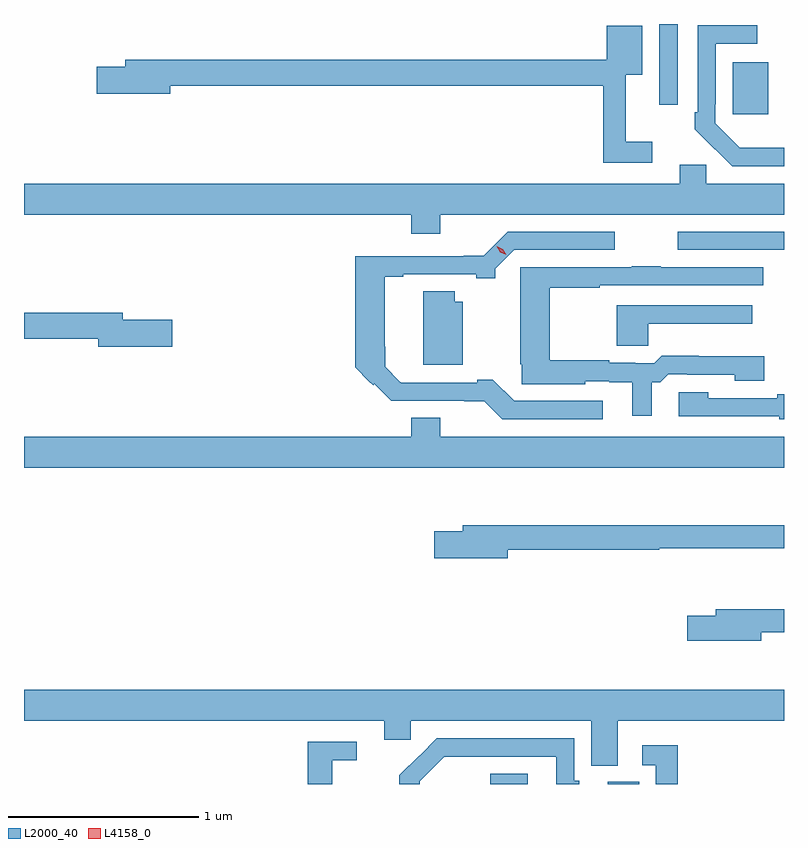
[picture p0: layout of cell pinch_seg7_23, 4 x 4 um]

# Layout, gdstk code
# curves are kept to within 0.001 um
import gdstk
lib = gdstk.Library(unit=1e-6, precision=1e-09)
def R(c, l, rs):  # rectangles x0, y0, x1, y1
    for r in rs: c.add(gdstk.rectangle(r[:2], r[2:], *l))
def P(c, l, *ps):  # polygons
    for p in ps: c.add(gdstk.Polygon(p, *l))
L2000_40 = (2000, 40)
L4158_0 = (4158, 0)

pinch_seg7_23 = lib.new_cell('pinch_seg7_23')
R(pinch_seg7_23, L2000_40, [(1043.196,1066.884,1043.395,1066.938), (1043.816,1066.884,1043.98,1066.896), (1044.183,1069.695,1044.743,1069.791), (1044.473,1070.409,1044.661,1070.683), (1044.087,1070.46,1044.183,1070.884)])
P(pinch_seg7_23, L2000_40, [(1044.743,1070.232),(1044.51,1070.233),(1044.381,1070.361),(1044.381,1070.461),(1044.384,1070.461),(1044.384,1070.781),(1044.603,1070.781),(1044.603,1070.877),(1044.288,1070.877),(1044.288,1070.419),(1044.273,1070.419),(1044.273,1070.331),(1044.47,1070.136),(1044.743,1070.136)],
  [(1044.049,1070.263),(1043.909,1070.263),(1043.909,1070.618),(1043.998,1070.618),(1043.998,1070.875),(1043.811,1070.875),(1043.811,1070.696),(1041.275,1070.696),(1041.275,1070.66),(1041.126,1070.66),(1041.126,1070.518),(1041.514,1070.518),(1041.514,1070.56),(1043.791,1070.56),(1043.791,1070.154),(1044.049,1070.154)],
  [(1042.933,1069.88),(1044.743,1069.88),(1044.743,1070.044),(1044.333,1070.044),(1044.333,1070.142),(1044.194,1070.142),(1044.194,1070.044),(1040.743,1070.044),(1040.743,1069.88),(1042.781,1069.88),(1042.781,1069.781),(1042.933,1069.781)],
  [(1043.788,1068.9),(1043.322,1068.9),(1043.21,1069.012),(1043.129,1069.012),(1043.129,1068.996),(1042.728,1068.996),(1042.645,1069.08),(1042.645,1069.186),(1042.642,1069.186),(1042.642,1069.554),(1042.738,1069.554),(1042.738,1069.566),(1043.123,1069.566),(1043.123,1069.546),(1043.223,1069.546),(1043.223,1069.596),(1043.322,1069.695),(1043.853,1069.695),(1043.853,1069.791),(1043.289,1069.791),(1043.162,1069.664),(1043.057,1069.664),(1043.057,1069.662),(1042.487,1069.662),(1042.487,1069.077),(1042.58,1068.983),(1042.587,1068.991),(1042.677,1068.9),(1043.165,1068.899),(1043.259,1068.804),(1043.788,1068.804)],
  [(1044.046,1068.998),(1044.092,1068.998),(1044.135,1069.041),(1044.235,1069.041),(1044.235,1069.038),(1044.484,1069.038),(1044.484,1069.007),(1044.64,1069.007),(1044.64,1069.135),(1044.293,1069.135),(1044.293,1069.138),(1044.1,1069.138),(1044.06,1069.098),(1043.96,1069.098),(1043.96,1069.101),(1043.823,1069.101),(1043.823,1069.114),(1043.511,1069.114),(1043.511,1069.497),(1043.774,1069.497),(1043.774,1069.509),(1044.634,1069.509),(1044.634,1069.605),(1044.095,1069.605),(1044.095,1069.61),(1043.941,1069.61),(1043.941,1069.605),(1043.356,1069.605),(1043.356,1069.093),(1043.364,1069.093),(1043.364,1068.989),(1043.697,1068.989),(1043.697,1069.005),(1043.823,1069.005),(1043.823,1068.998),(1043.945,1068.998),(1043.945,1068.822),(1044.046,1068.822)],
  [(1043.053,1069.423),(1043.01,1069.423),(1043.01,1069.477),(1042.844,1069.477),(1042.844,1069.091),(1043.053,1069.091)],
  [(1044.029,1069.307),(1044.577,1069.307),(1044.577,1069.404),(1043.863,1069.404),(1043.863,1069.191),(1044.029,1069.191)],
  [(1041.523,1069.328),(1041.262,1069.328),(1041.262,1069.364),(1040.743,1069.364),(1040.743,1069.228),(1041.134,1069.228),(1041.134,1069.186),(1041.523,1069.186)],
  [(1044.743,1068.935),(1044.707,1068.935),(1044.707,1068.915),(1044.345,1068.915),(1044.345,1068.946),(1044.189,1068.946),(1044.189,1068.819),(1044.717,1068.819),(1044.717,1068.804),(1044.743,1068.804)],
  [(1044.743,1068.712),(1042.933,1068.712),(1042.933,1068.811),(1042.781,1068.811),(1042.781,1068.712),(1040.743,1068.712),(1040.743,1068.548),(1044.743,1068.548)],
  [(1043.29,1068.118),(1044.086,1068.118),(1044.086,1068.126),(1044.743,1068.126),(1044.743,1068.247),(1043.051,1068.247),(1043.051,1068.213),(1042.902,1068.213),(1042.902,1068.071),(1043.29,1068.071)],
  [(1044.622,1067.682),(1044.743,1067.682),(1044.743,1067.803),(1044.383,1067.803),(1044.383,1067.769),(1044.234,1067.769),(1044.234,1067.639),(1044.622,1067.639)],
  [(1043.869,1067.216),(1044.743,1067.216),(1044.743,1067.38),(1040.743,1067.38),(1040.743,1067.216),(1042.64,1067.216),(1042.64,1067.118),(1042.779,1067.118),(1042.779,1067.216),(1043.729,1067.216),(1043.729,1066.981),(1043.869,1066.981)],
  [(1042.827,1066.899),(1042.956,1067.028),(1043.543,1067.028),(1043.543,1066.884),(1043.665,1066.884),(1043.665,1066.902),(1043.64,1066.902),(1043.64,1067.124),(1042.916,1067.124),(1042.719,1066.929),(1042.719,1066.884),(1042.827,1066.884)],
  [(1042.366,1067.009),(1042.495,1067.009),(1042.495,1067.106),(1042.237,1067.106),(1042.237,1066.884),(1042.366,1066.884)],
  [(1044.185,1067.089),(1043.997,1067.089),(1043.997,1066.983),(1044.069,1066.983),(1044.069,1066.884),(1044.185,1066.884)])
P(pinch_seg7_23, L4158_0, [(1043.281,1069.669),(1043.25,1069.684),(1043.231,1069.714),(1043.231,1069.714),(1043.231,1069.714),(1043.263,1069.699),(1043.281,1069.67),(1043.281,1069.669)])

lib.write_gds('pinch_seg7_23.gds')
